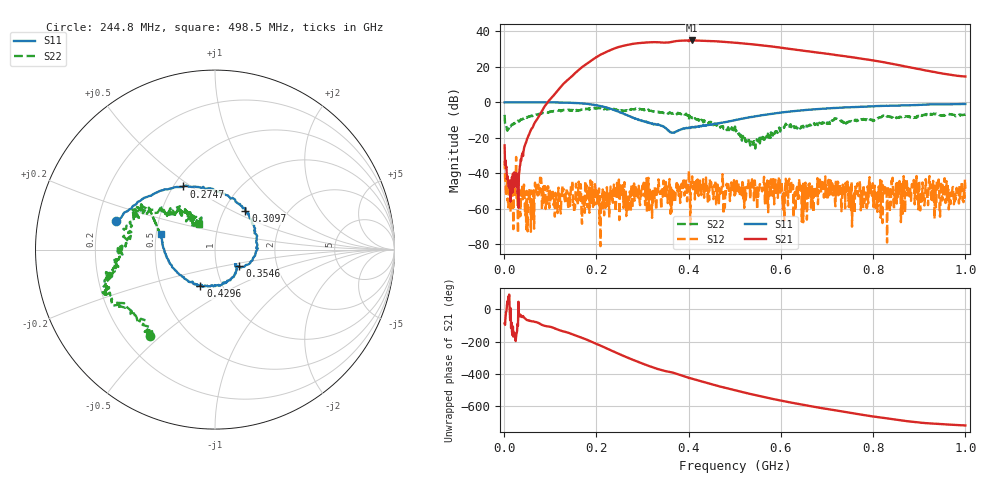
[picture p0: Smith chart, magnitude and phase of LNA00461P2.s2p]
! Created with skrf 1.9.0 (http://scikit-rf.org).
# Hz S RI R 50.0
!freq ReS11 ImS11 ReS21 ImS21 ReS12 ImS12 ReS22 ImS22
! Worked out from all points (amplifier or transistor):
!   1001 points, 1 MHz to 1 GHz, reference 50 ohm
!   highest |S21| = 34.9 dB at 406.6 MHz (marker M1)
!   |S21| within 3 dB of that: 258.9 MHz to 566.2 MHz (307.3 MHz wide, 74.5 % of centre) (the widest 1 of 2)
!   unconditionally stable (mu >= 1): 16.6 MHz to 53.92 MHz; 237.8 MHz to 308.7 MHz; 312.8 MHz to end of sweep (the widest 3 of 36)
!   at 166.8 MHz: K = 1.20, MAG = 31.9 dB, |S12| = -49.8 dB
!   at 500.5 MHz: K = 1.52, MAG = 34.4 dB, |S12| = -43.7 dB
!   at 1 GHz: K = 3.69, MAG = 23.0 dB, |S12| = -48.6 dB
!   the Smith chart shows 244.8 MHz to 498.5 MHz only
!   S11 on the Smith chart (normalised r, x): 244.8 MHz: 0.28, +0.13; 274.7 MHz: 0.56, +0.47; 309.7 MHz: 1.26, +0.58; 354.6 MHz: 1.29, -0.25; 429.6 MHz: 0.79, -0.33; 498.5 MHz: 0.53, +0.10
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1000000  0.9945 0.00952  0.0019 -0.0613  -0.0211 0.00843  0.2898 0.3362
1.08892e8  0.5279 -0.8451  -0.7741 -1.471  0.00214 -0.000421  0.4173 -0.3858
1.67833e8  -0.2183 -0.9075  -9.573 -0.6288  0.000234 0.000544  0.0263 -0.6301
2.11789e8  -0.6786 -0.3735  -15.19 17.28  -0.000876 0.000699  -0.2068 -0.6231
2.44756e8  -0.5491 0.1568  0.6028 35.21  -0.00541 -6.63e-05  -0.3622 -0.4787
2.74726e8  -0.1759 0.3518  26.71 34.26  -0.000798 0.000204  -0.5329 -0.3054
3.09691e8  0.1694 0.2151  47.62 11.16  -0.000593 0.000468  -0.5893 -0.1374
3.34666e8  0.2391 0.00702  48.42 -9.617  -0.00561 0.00374  -0.5177 0.00193
3.54646e8  0.1356 -0.0926  43.75 -20.69  -0.000863 -0.00116  -0.4742 0.1037
3.76624e8  0.1202 -0.1048  40.11 -35.87  0.0028 0.00393  -0.4597 0.2219
4.06594e8  0.0357 -0.1958  19.94 -51.81  0.000261 0.00531  -0.3028 0.2364
4.29571e8  -0.0817 -0.2012  1.851 -54.39  -0.00215 0.00263  -0.2005 0.2374
4.59541e8  -0.2206 -0.1153  -19.17 -48.96  0.00133 0.000114  -0.128 0.1911
4.98502e8  -0.3017 0.0854  -37 -31.12  0.00637 0.000913  -0.0898 0.1442
5.005e8  -0.2989 0.0884  -37.78 -30.21  -0.0063 0.00183  -0.1282 0.1649
5.4046e8  -0.2432 0.3097  -41.9 -8.658  0.00481 -0.00341  -0.0686 0.0367
5.88412e8  -0.0533 0.4897  -34.49 11.44  0.00543 -0.00374  -0.1288 -0.0626
6.25375e8  0.1236 0.547  -24.27 19.6  0.000937 -0.00296  -0.1936 -0.0893
6.67333e8  0.3255 0.5368  -12.89 23.01  0.0028 -0.00329  -0.2362 -0.00993
7.53247e8  0.6337 0.3654  3.809 18.32  -0.00511 -0.00305  -0.2927 0.0451
8.34166e8  0.7912 0.129  9.284 8.677  -0.000995 0.00267  -0.3856 0.1111
1e9  0.8052 -0.4064  5.343 0.1568  0.00366 0.000469  -0.1897 0.4103
